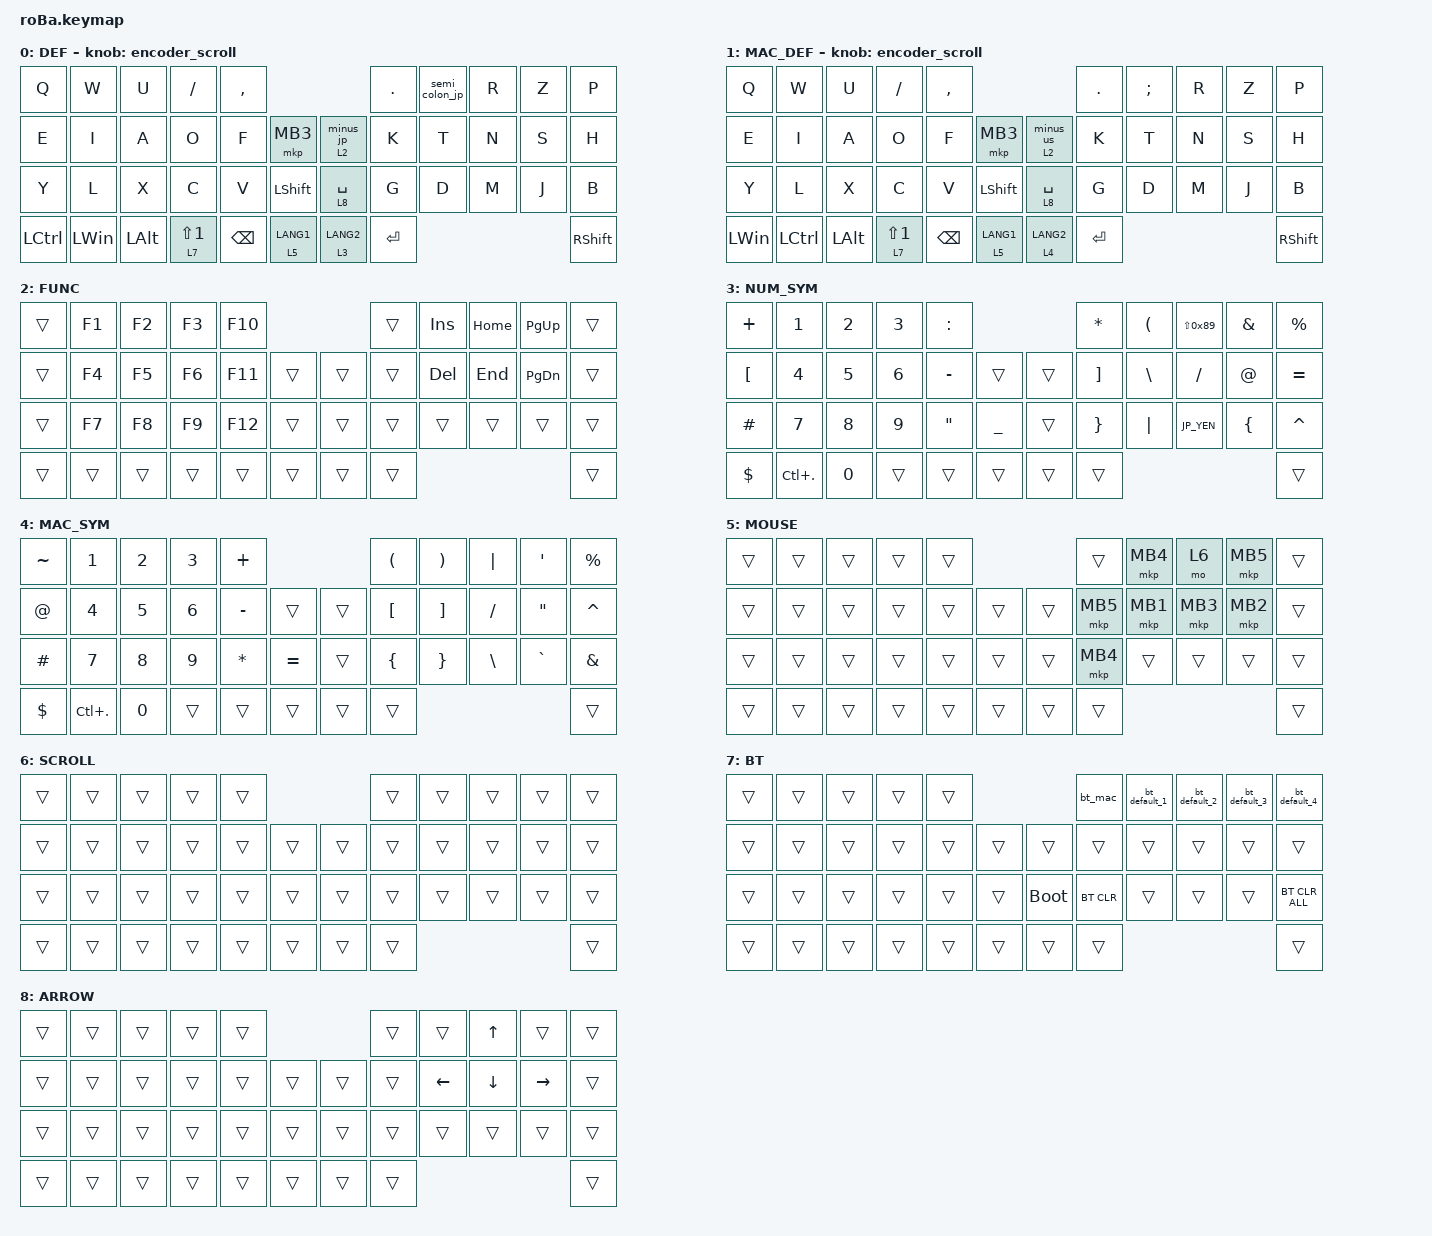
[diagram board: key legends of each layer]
#include <behaviors.dtsi>
#include <dt-bindings/zmk/bt.h>
#include <dt-bindings/zmk/keys.h>
#include <dt-bindings/zmk/pointing.h>
#define ZMK_POINTING_DEFAULT_SCRL_VAL 80

// OS設定を日本語キーボードのまま使用するための変換定義
#define JP_DQUOTE     AT                // "
#define JP_AMPERSAND  CARET             // &
#define JP_QUOTE      AMPERSAND         // '
#define JP_EQUAL      UNDER             // =
#define JP_CARET      EQUAL             // ^
#define JP_YEN        0x89              // ¥
#define JP_PLUS       COLON             // +
#define JP_TILDE      PLUS              // ~
#define JP_PIPE       LS(0x89)          // |
#define JP_AT         LEFT_BRACKET      // @
#define JP_COLON      SINGLE_QUOTE      // :
#define JP_ASTERISK   DOUBLE_QUOTES     // *
#define JP_BACKQUOTE  LEFT_BRACE        // `
#define JP_UNDERSCORE LS(0x87)          // _
#define JP_LBRACKET   RIGHT_BRACKET     // [
#define JP_RBRACKET   BACKSLASH         // ]
#define JP_LPAREN     ASTERISK          // (
#define JP_RPAREN     LEFT_PARENTHESIS  // )
#define JP_LBRACE     RIGHT_BRACE       // {
#define JP_RBRACE     PIPE              // }
#define JP_KANA       LANGUAGE_1        // かな
#define JP_EISU       LANGUAGE_2        // 英数
#define JP_HANZEN     GRAVE             // 半角/全角

// macOS US配列向け定義
#define MAC_KANA LC(LS(J))             // かな
#define MAC_EISU LC(LS(SINGLE_QUOTE))  // 英数

&mt {
    flavor = "balanced";
    quick-tap-ms = <0>;
};

&lt {
    flavor = "hold-preferred";
};

&trackball {
    // automouse-layer = <5>;
    scroll-layers = <6>;
    snipe-layers = <5>;

    /* 
    arrows {
        layers = <3>;
        bindings =
            <&kp RIGHT_ARROW>,
            <&kp LEFT_ARROW>,
            <&kp UP_ARROW>,
            <&kp DOWN_ARROW>;
        tick = <10>;
        wait-ms = <5>;
        tap-ms = <5>;
    }; 
	*/
};

/ {
    macros {
        to_def: to_def {
            compatible = "zmk,behavior-macro-one-param";
            #binding-cells = <1>;
            bindings = <&to 0 &macro_param_1to1 &kp MACRO_PLACEHOLDER>;
            label = "TO_DEF";
        };

        to_mac_def: to_mac_def {
            compatible = "zmk,behavior-macro-one-param";
            #binding-cells = <1>;
            bindings = <&to 1 &macro_param_1to1 &kp MACRO_PLACEHOLDER>;
            label = "TO_MAC_DEF";
        };

        bt_mac: bt_mac {
            compatible = "zmk,behavior-macro";
            #binding-cells = <0>;
            wait-ms = <0>;
            tap-ms = <0>;
            bindings = <&bt BT_SEL 0>, <&to 1>;
            label = "BT_MAC";
        };

        bt_default_1: bt_default_1 {
            compatible = "zmk,behavior-macro";
            #binding-cells = <0>;
            wait-ms = <0>;
            tap-ms = <0>;
            bindings = <&bt BT_SEL 1>, <&to 0>;
            label = "BT_DEFAULT_1";
        };

        bt_default_2: bt_default_2 {
            compatible = "zmk,behavior-macro";
            #binding-cells = <0>;
            wait-ms = <0>;
            tap-ms = <0>;
            bindings = <&bt BT_SEL 2>, <&to 0>;
            label = "BT_DEFAULT_2";
        };

        bt_default_3: bt_default_3 {
            compatible = "zmk,behavior-macro";
            #binding-cells = <0>;
            wait-ms = <0>;
            tap-ms = <0>;
            bindings = <&bt BT_SEL 3>, <&to 0>;
            label = "BT_DEFAULT_3";
        };

        bt_default_4: bt_default_4 {
            compatible = "zmk,behavior-macro";
            #binding-cells = <0>;
            wait-ms = <0>;
            tap-ms = <0>;
            bindings = <&bt BT_SEL 4>, <&to 0>;
            label = "BT_DEFAULT_4";
        };
    };

    behaviors {
        encoder_scroll: encoder_scroll {
            compatible = "zmk,behavior-sensor-rotate";
            #sensor-binding-cells = <0>;
            bindings = <&msc SCRL_DOWN>, <&msc SCRL_UP>;
            tap-ms = <20>;
            label = "ENCODER_SCROLL";
        };

        /*
        lt2def: lt2def {
            compatible = "zmk,behavior-hold-tap";
            label = "LT2DEF";
            bindings = <&mo>, <&to_def>;
            #binding-cells = <2>;
            tapping-term-ms = <200>;
        };

        lt2mac_def: lt2mac_def {
            compatible = "zmk,behavior-hold-tap";
            label = "LT2MAC_DEF";
            bindings = <&mo>, <&to_mac_def>;
            #binding-cells = <2>;
            tapping-term-ms = <200>;
        };
        */
        lt_minus_jp: lt_minus_jp {
            compatible = "zmk,behavior-hold-tap";
            label = "LAYER_TAP_MINUS_JP";
            bindings = <&mo>, <&minus_jp>;
            #binding-cells = <2>;
            tapping-term-ms = <200>;
        };

        lt_minus_us: lt_minus_us {
            compatible = "zmk,behavior-hold-tap";
            label = "LAYER_TAP_MINUS_US";
            bindings = <&mo>, <&minus_us>;
            #binding-cells = <2>;
            tapping-term-ms = <200>;
        };

        lt_mouse: lt_mouse {
            compatible = "zmk,behavior-hold-tap";
            label = "LAYER_TAP_MOUSE";
            bindings = <&mo>, <&kp>;
            #binding-cells = <2>;
            flavor = "hold-preferred";
            tapping-term-ms = <200>;
        };

        semi_colon_jp: semi_colon_jp {
            compatible = "zmk,behavior-mod-morph";
            label = "SEMI_COLON_JP";
            #binding-cells = <0>;
            bindings = <&kp SEMICOLON>, <&kp JP_COLON>;
            mods = <( MOD_LSFT|MOD_RSFT )>;
            keep-mods = <0>;
        };

        minus_jp: minus_jp {
            compatible = "zmk,behavior-mod-morph";
            label = "MINUS_JP";
            #binding-cells = <0>;
            bindings = <&kp MINUS>, <&kp JP_UNDERSCORE>;
            mods = <( MOD_LSFT|MOD_RSFT )>;
        };

        minus_us: minus_us {
            compatible = "zmk,behavior-mod-morph";
            label = "MINUS_US";
            #binding-cells = <0>;
            bindings = <&kp MINUS>, <&kp LS(MINUS)>;
            mods = <( MOD_LSFT|MOD_RSFT )>;
        };
    };

    keymap {
        compatible = "zmk,keymap";

        DEF {
            bindings = <
                &kp Q       &kp W          &kp U          &kp SLASH            &kp COMMA                                                 &kp PERIOD   &semi_colon_jp   &kp R   &kp Z   &kp P
                &kp E       &kp I          &kp A          &kp O                &kp F           &mkp MB3               &lt_minus_jp 2 0   &kp K        &kp T            &kp N   &kp S   &kp H
                &kp Y       &kp L          &kp X          &kp C                &kp V           &kp LEFT_SHIFT         &lt 8 SPACE        &kp G        &kp D            &kp M   &kp J   &kp B
                &kp LCTRL   &kp LEFT_WIN   &kp LEFT_ALT   &lt 7 LS(NUMBER_1)   &kp BSPC        &lt_mouse 5 LANG1      &lt 3 LANG2        &kp ENTER                                     &kp RIGHT_SHIFT
            >;

            /*           bindings = <
                &kp Q       &kp W          &kp E          &kp R                    &kp T                                                   &kp Y               &kp U   &kp I   &kp O       &kp P
                &kp A       &kp S          &kp D          &kp F                    &kp G            &mkp MB3            &lt_minus_jp 2 0   &kp H               &kp J   &kp K   &kp L       &semi_colon_jp
                &kp SLASH   &kp Z          &kp X          &kp C                    &kp V            &lt 8 SPACE       &kp BSPC           &kp B               &kp N   &kp M   &kp COMMA   &kp PERIOD
                &kp LCTRL   &kp LEFT_WIN   &kp LEFT_ALT   &lt 7 LS(NUMBER_1)       &kp LEFT_SHIFT   &lt_mouse 5 JP_KANA   &lt 3 JP_EISU      &kp ENTER           &kp RIGHT_SHIFT
            >; */
            sensor-bindings = <&encoder_scroll>;
        };

        MAC_DEF {
            bindings = <
                &kp Q          &kp W       &kp U          &kp SLASH            &kp COMMA                                                 &kp PERIOD   &kp SEMICOLON   &kp R   &kp Z   &kp P
                &kp E          &kp I       &kp A          &kp O                &kp F           &mkp MB3               &lt_minus_us 2 0   &kp K        &kp T           &kp N   &kp S   &kp H
                &kp Y          &kp L       &kp X          &kp C                &kp V           &kp LEFT_SHIFT         &lt 8 SPACE        &kp G        &kp D           &kp M   &kp J   &kp B
                &kp LEFT_WIN   &kp LCTRL   &kp LEFT_ALT   &lt 7 LS(NUMBER_1)   &kp BSPC        &lt_mouse 5 LANG1      &lt 4 LANG2        &kp ENTER                                    &kp RIGHT_SHIFT
            >;

            /*             bindings = <
                &kp Q          &kp W       &kp E          &kp R                        &kp T                                                      &kp Y                 &kp U   &kp I   &kp O       &kp P
                &kp A          &kp S       &kp D          &kp F                        &kp G            &mkp MB3              &lt_minus_us 2 0    &kp H                 &kp J   &kp K   &kp L       &kp SEMICOLON
                &kp SLASH      &kp Z       &kp X          &kp C                        &kp V            &lt 8 SPACE           &kp BSPC            &kp B                 &kp N   &kp M   &kp COMMA   &kp PERIOD
                &kp LEFT_WIN   &kp LCTRL   &kp LEFT_ALT   &lt 7 LS(NUMBER_1)           &kp LEFT_SHIFT   &lt_mouse 5 LANG1     &lt 4 LANG2         &kp ENTER             &kp RIGHT_SHIFT
            >; */
            sensor-bindings = <&encoder_scroll>;
        };

        FUNC {
            bindings = <
                &trans   &kp F1   &kp F2   &kp F3   &kp F10                        &trans   &kp INSERT   &kp HOME   &kp PAGE_UP     &trans
                &trans   &kp F4   &kp F5   &kp F6   &kp F11   &trans      &trans   &trans   &kp DELETE   &kp END    &kp PAGE_DOWN   &trans
                &trans   &kp F7   &kp F8   &kp F9   &kp F12   &trans      &trans   &trans   &trans       &trans     &trans          &trans
                &trans   &trans   &trans   &trans   &trans    &trans      &trans   &trans                                           &trans
            >;
        };

        NUM_SYM {
            bindings = <
                &kp JP_TILDE   &kp NUMBER_1     &kp NUMBER_2   &kp NUMBER_3   &kp JP_PLUS                                  &kp JP_LPAREN     &kp JP_RPAREN     &kp JP_PIPE   &kp JP_QUOTE       &kp PERCENT
                &kp JP_AT      &kp NUMBER_4     &kp NUMBER_5   &kp NUMBER_6   &kp MINUS         &trans            &trans   &kp JP_LBRACKET   &kp JP_RBRACKET   &kp SLASH     &kp JP_DQUOTE      &kp JP_CARET
                &kp HASH       &kp NUMBER_7     &kp NUMBER_8   &kp NUMBER_9   &kp JP_ASTERISK   &kp JP_EQUAL      &trans   &kp JP_LBRACE     &kp JP_RBRACE     &kp JP_YEN    &kp JP_BACKQUOTE   &kp JP_AMPERSAND
                &kp DOLLAR     &kp LC(PERIOD)   &kp NUMBER_0   &trans         &trans            &trans            &trans   &trans                                                               &trans
            >;
        };

        MAC_SYM {
            bindings = <
                &kp TILDE    &kp NUMBER_1     &kp NUMBER_2   &kp NUMBER_3   &kp PLUS                               &kp LEFT_PARENTHESIS   &kp RIGHT_PARENTHESIS   &kp PIPE        &kp SINGLE_QUOTE    &kp PERCENT
                &kp AT       &kp NUMBER_4     &kp NUMBER_5   &kp NUMBER_6   &kp MINUS      &trans         &trans   &kp LEFT_BRACKET       &kp RIGHT_BRACKET       &kp SLASH       &kp DOUBLE_QUOTES   &kp CARET
                &kp HASH     &kp NUMBER_7     &kp NUMBER_8   &kp NUMBER_9   &kp ASTERISK   &kp EQUAL      &trans   &kp LEFT_BRACE         &kp RIGHT_BRACE         &kp BACKSLASH   &kp GRAVE           &kp AMPERSAND
                &kp DOLLAR   &kp LC(PERIOD)   &kp NUMBER_0   &trans         &trans         &trans         &trans   &trans                                                                             &trans
            >;
        };

        MOUSE {
            bindings = <
                &trans   &trans   &trans   &trans   &trans                        &trans     &mkp MB4   &mo 6      &mkp MB5   &trans
                &trans   &trans   &trans   &trans   &trans   &trans      &trans   &mkp MB5   &mkp MB1   &mkp MB3   &mkp MB2   &trans
                &trans   &trans   &trans   &trans   &trans   &trans      &trans   &mkp MB4   &trans     &trans     &trans     &trans
                &trans   &trans   &trans   &trans   &trans   &trans      &trans   &trans                                      &trans
            >;
        };

        SCROLL {
            bindings = <
                &trans   &trans   &trans   &trans   &trans                        &trans   &trans   &trans   &trans   &trans
                &trans   &trans   &trans   &trans   &trans   &trans      &trans   &trans   &trans   &trans   &trans   &trans
                &trans   &trans   &trans   &trans   &trans   &trans      &trans   &trans   &trans   &trans   &trans   &trans
                &trans   &trans   &trans   &trans   &trans   &trans      &trans   &trans                              &trans
            >;
        };

        BT {
            bindings = <
                &trans   &trans   &trans   &trans   &trans                             &bt_mac      &bt_default_1   &bt_default_2   &bt_default_3   &bt_default_4
                &trans   &trans   &trans   &trans   &trans   &trans      &trans        &trans       &trans          &trans          &trans          &trans
                &trans   &trans   &trans   &trans   &trans   &trans      &bootloader   &bt BT_CLR   &trans          &trans          &trans          &bt BT_CLR_ALL
                &trans   &trans   &trans   &trans   &trans   &trans      &trans        &trans                                                       &trans
            >;
        };

        ARROW {
            bindings = <
                &trans   &trans   &trans   &trans   &trans                        &trans   &trans     &kp UP     &trans      &trans
                &trans   &trans   &trans   &trans   &trans   &trans      &trans   &trans   &kp LEFT   &kp DOWN   &kp RIGHT   &trans
                &trans   &trans   &trans   &trans   &trans   &trans      &trans   &trans   &trans     &trans     &trans      &trans
                &trans   &trans   &trans   &trans   &trans   &trans      &trans   &trans                                     &trans
            >;
        };
    };

    combos {
        compatible = "zmk,combos";

        combo_esc {
            timeout-ms = <50>;
            key-positions = <0 1>;
            bindings = <&kp ESC>;
        };

        combo_tab {
            timeout-ms = <50>;
            key-positions = <10 11>;
            bindings = <&kp TAB>;
        };
    };
};
